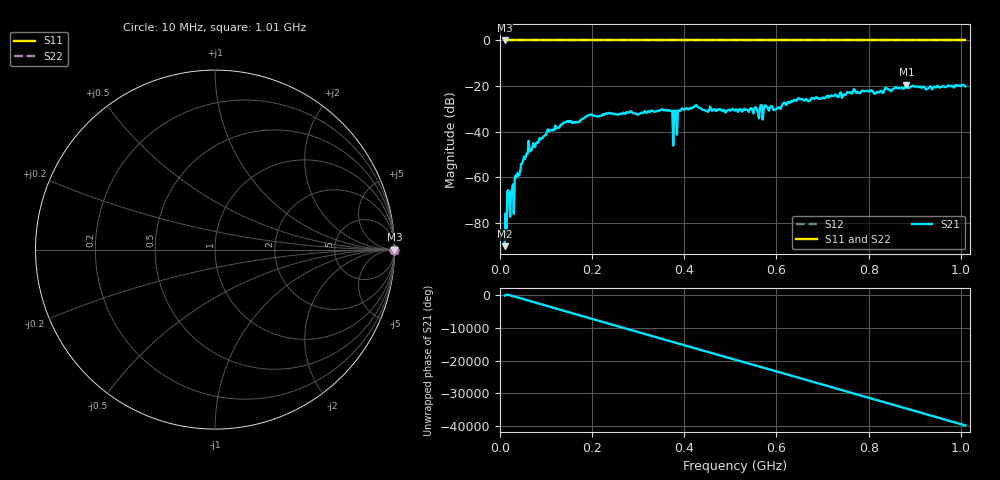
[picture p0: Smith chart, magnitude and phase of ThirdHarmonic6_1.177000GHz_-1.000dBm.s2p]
! 8/16/2025 11:59:19 AM
! C:\ANRITSUVNA\TEMP\TEMP.S2P
! CHANNEL.1
! TR.MEASUREMENT
! RAW.DATA
! RF.CORRECTION.OFF
! AVERAGING.OFF
! IF.BANDWIDTH: 5KHZ
! SWEEPTYPE:  FREQ.SWEEP(Linear)
! Reference Plane Port Info
! PORT:  PORT1  PORT2
! DISTANCE:  0  m  0  m
! TIME:  0  s  0  s
! PHASE.OFFSET:  0  deg.  0  deg.
! LOSS:  0  dB  0  dB
! REF.LOSS:  0  dB  0  dB
! REF.FREQ:  0  Hz  0  Hz
! Power Info
! POWER:  -20  dBm  -20  dBm
! EFF.POWER:  -20  dBm  -20  dBm
! SOURCE.ATTEN:  0  dB  0  dB
! TEST.ATTEN:  0  dB  0  dB
# GHZ S RI R 50.0
! FREQ.GHZ  S11RE  S11IM  S21RE  S21IM  S12RE  S12IM  S22RE  S22IM
!; PortSelection: Port_12
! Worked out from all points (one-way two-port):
!   501 points, 10 MHz to 1.01 GHz, reference 50 ohm
!   highest |S21| = -19.30 dB at 882 MHz (marker M1); lowest = -90.1 dB at 10 MHz (marker M2)
!   lowest |S11| = 0.0 dB at 10 MHz (marker M3)
!   |S11| at or under -10 dB: nowhere
!   |S22| runs from 0.0 to 0.0 dB; largest |S21 - S12| = 1.1
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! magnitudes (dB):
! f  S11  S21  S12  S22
! 10 MHz  0.0  -90.1  0.0  0.0
! 16 MHz  0.0  -66.0  0.0  0.0
! 20 MHz  0.0  -68.5  0.0  0.0
! 26 MHz  0.0  -67.0  0.0  0.0
! 36 MHz  0.0  -60.0  0.0  0.0
! 62 MHz  0.0  -43.9  0.0  0.0
! 106 MHz  0.0  -39.9  0.0  0.0
! 178 MHz  0.0  -34.4  0.0  0.0
! 344 MHz  0.0  -30.9  0.0  0.0
! 370 MHz  0.0  -30.8  0.0  0.0
! 372 MHz  0.0  -30.9  0.0  0.0
! 380 MHz  0.0  -30.8  0.0  0.0
! 382 MHz  0.0  -30.8  0.0  0.0
! 388 MHz  0.0  -30.7  0.0  0.0
! 390 MHz  0.0  -30.9  0.0  0.0
! 424 MHz  0.0  -28.6  0.0  0.0
! 510 MHz  0.0  -30.7  0.0  0.0
! 598 MHz  0.0  -30.3  0.0  0.0
! 678 MHz  0.0  -25.1  0.0  0.0
! 844 MHz  0.0  -21.4  0.0  0.0
! 882 MHz  0.0  -19.3  0.0  0.0
! 1.01 GHz  0.0  -20.1  0.0  0.0
